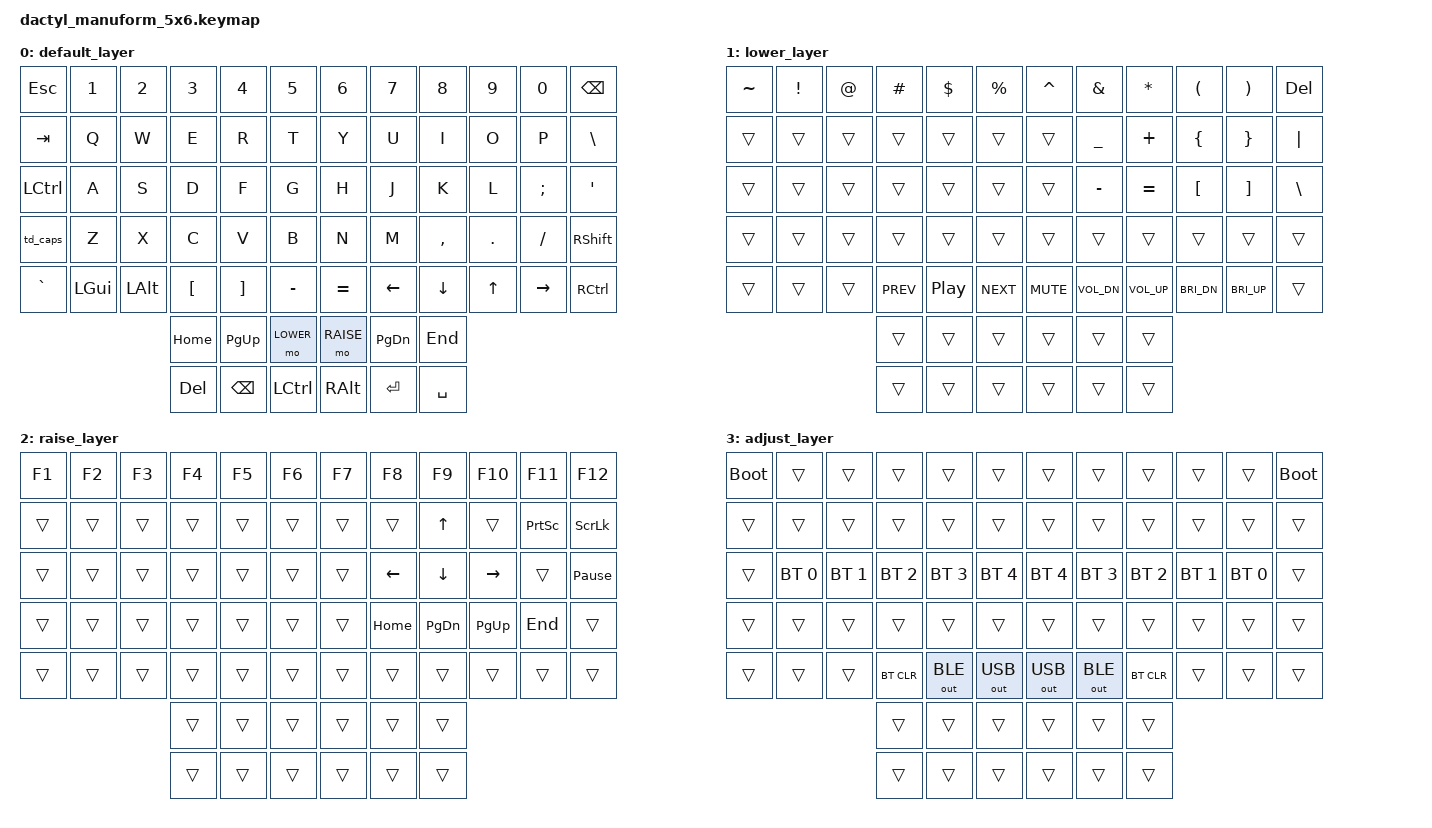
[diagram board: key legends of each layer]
/*
 * Dactyl Manuform 5x6 Keymap
 * nice!nano v2 | ZMK Firmware
 *
 * ─────────────────────────────────────────────────────────────────────────────
 * Physical layout (per side, 36 keys):
 *
 *   ┌─────┬─────┬─────┬─────┬─────┬─────┐       ┌─────┬─────┬─────┬─────┬─────┬─────┐
 *   │  0  │  1  │  2  │  3  │  4  │  5  │       │  6  │  7  │  8  │  9  │ 10  │ 11  │  ← Row 0
 *   ├─────┼─────┼─────┼─────┼─────┼─────┤       ├─────┼─────┼─────┼─────┼─────┼─────┤
 *   │ 12  │ 13  │ 14  │ 15  │ 16  │ 17  │       │ 18  │ 19  │ 20  │ 21  │ 22  │ 23  │  ← Row 1
 *   ├─────┼─────┼─────┼─────┼─────┼─────┤       ├─────┼─────┼─────┼─────┼─────┼─────┤
 *   │ 24  │ 25  │ 26  │ 27  │ 28  │ 29  │       │ 30  │ 31  │ 32  │ 33  │ 34  │ 35  │  ← Row 2
 *   ├─────┼─────┼─────┼─────┼─────┼─────┤       ├─────┼─────┼─────┼─────┼─────┼─────┤
 *   │ 36  │ 37  │ 38  │ 39  │ 40  │ 41  │       │ 42  │ 43  │ 44  │ 45  │ 46  │ 47  │  ← Row 3
 *   ├─────┼─────┼─────┼─────┼─────┼─────┤       ├─────┼─────┼─────┼─────┼─────┼─────┤
 *   │ 48  │ 49  │ 50  │ 51  │ 52  │ 53  │       │ 54  │ 55  │ 56  │ 57  │ 58  │ 59  │  ← Row 4
 *   └─────┴─────┴─────┼─────┼─────┼─────┘       └─────┼─────┼─────┼─────┴─────┴─────┘
 *                     │ 60  │ 61  │ 62  │       │ 63  │ 64  │ 65  │           ← Thumb inner
 *                     ├─────┼─────┼─────┤       ├─────┼─────┼─────┤
 *                     │ 66  │ 67  │ 68  │       │ 69  │ 70  │ 71  │           ← Thumb outer
 *                     └─────┴─────┴─────┘       └─────┴─────┴─────┘
 *
 * Thumb cluster — left hand (positions 60-68):
 *   Inner row (60-62): farther from palm, curled-finger reach
 *   Outer row (66-68): closer to palm, natural thumb rest
 *   Most-used key on left = 62 (inner-near) and 68 (outer-near)
 *
 * Thumb cluster — right hand (positions 63-65, 69-71):
 *   Most-used key on right = 63 (inner-near) and 69 (outer-near)
 * ─────────────────────────────────────────────────────────────────────────────
 */

#include <behaviors.dtsi>
#include <dt-bindings/zmk/keys.h>
#include <dt-bindings/zmk/bt.h>
#include <dt-bindings/zmk/outputs.h>

/* Layer index aliases */
#define BASE   0
#define LOWER  1
#define RAISE  2
#define ADJUST 3

/ {
    /*
     * Combo: hold both inner thumb keys simultaneously to reach ADJUST layer.
     * Useful for firmware reset / BT management without a dedicated key.
     */
    combos {
        compatible = "zmk,combos";
        combo_adjust {
            timeout-ms = <50>;
            key-positions = <62 63>;   /* LI-near + RI-near */
            bindings = <&mo ADJUST>;
        };
    };

    behaviors {
        /*
         * Tap-dance: double-tap LSHIFT → Caps Lock.
         * Single tap still works as normal LSHIFT hold.
         */
        td_caps: tap_dance_caps {
            compatible = "zmk,behavior-tap-dance";
            #binding-cells = <0>;
            tapping-term-ms = <200>;
            bindings = <&kp LSHIFT>, <&kp CAPS>;
        };
    };

    keymap {
        compatible = "zmk,keymap";

        /* ──────────────────────────────────────────────────────────────────
         * Layer 0 — BASE (QWERTY)
         *
         * ┌─────┬─────┬─────┬─────┬─────┬─────┐     ┌─────┬─────┬─────┬─────┬─────┬─────┐
         * │ ESC │  1  │  2  │  3  │  4  │  5  │     │  6  │  7  │  8  │  9  │  0  │BSPC │
         * ├─────┼─────┼─────┼─────┼─────┼─────┤     ├─────┼─────┼─────┼─────┼─────┼─────┤
         * │ TAB │  Q  │  W  │  E  │  R  │  T  │     │  Y  │  U  │  I  │  O  │  P  │  \  │
         * ├─────┼─────┼─────┼─────┼─────┼─────┤     ├─────┼─────┼─────┼─────┼─────┼─────┤
         * │LCTL │  A  │  S  │  D  │  F  │  G  │     │  H  │  J  │  K  │  L  │  ;  │  '  │
         * ├─────┼─────┼─────┼─────┼─────┼─────┤     ├─────┼─────┼─────┼─────┼─────┼─────┤
         * │LSFT │  Z  │  X  │  C  │  V  │  B  │     │  N  │  M  │  ,  │  .  │  /  │RSFT │
         * ├─────┼─────┼─────┼─────┼─────┼─────┤     ├─────┼─────┼─────┼─────┼─────┼─────┤
         * │  `  │LGUI │LALT │  [  │  ]  │  -  │     │  =  │LEFT │DOWN │ UP  │RGHT │RCTL │
         * └─────┴─────┴─────┼─────┼─────┼─────┘     └─────┼─────┼─────┼─────┴─────┴─────┘
         *                   │HOME │PGUP │MO(1)│     │MO(2)│PGDN │ END │
         *                   ├─────┼─────┼─────┤     ├─────┼─────┼─────┤
         *                   │ DEL │BSPC │LCTL │     │RALT │ ENT │ SPC │
         *                   └─────┴─────┴─────┘     └─────┴─────┴─────┘
         * ──────────────────────────────────────────────────────────────── */
        default_layer {
            bindings = <
/* Row 0 */
&kp ESC    &kp N1   &kp N2   &kp N3    &kp N4    &kp N5        &kp N6    &kp N7    &kp N8    &kp N9    &kp N0    &kp BSPC
/* Row 1 */
&kp TAB    &kp Q    &kp W    &kp E     &kp R     &kp T         &kp Y     &kp U     &kp I     &kp O     &kp P     &kp BSLH
/* Row 2 */
&kp LCTRL  &kp A    &kp S    &kp D     &kp F     &kp G         &kp H     &kp J     &kp K     &kp L     &kp SEMI  &kp SQT
/* Row 3 */
&td_caps   &kp Z    &kp X    &kp C     &kp V     &kp B         &kp N     &kp M     &kp COMMA &kp DOT   &kp SLASH &kp RSHFT
/* Row 4 */
&kp GRAVE  &kp LGUI &kp LALT &kp LBKT  &kp RBKT  &kp MINUS     &kp EQUAL &kp LEFT  &kp DOWN  &kp UP    &kp RIGHT &kp RCTRL
/* Thumb inner */
                             &kp HOME  &kp PG_UP &mo LOWER     &mo RAISE &kp PG_DN &kp END
/* Thumb outer */
                             &kp DEL   &kp BSPC  &kp LCTRL     &kp RALT  &kp RET   &kp SPACE
            >;
        };

        /* ──────────────────────────────────────────────────────────────────
         * Layer 1 — LOWER (Numbers, symbols, media)
         *
         * ┌─────┬─────┬─────┬─────┬─────┬─────┐     ┌─────┬─────┬─────┬─────┬─────┬─────┐
         * │  ~  │  !  │  @  │  #  │  $  │  %  │     │  ^  │  &  │  *  │  (  │  )  │ DEL │
         * ├─────┼─────┼─────┼─────┼─────┼─────┤     ├─────┼─────┼─────┼─────┼─────┼─────┤
         * │     │     │     │     │     │     │     │     │  _  │  +  │  {  │  }  │  |  │
         * ├─────┼─────┼─────┼─────┼─────┼─────┤     ├─────┼─────┼─────┼─────┼─────┼─────┤
         * │     │     │     │     │     │     │     │     │  -  │  =  │  [  │  ]  │  \  │
         * ├─────┼─────┼─────┼─────┼─────┼─────┤     ├─────┼─────┼─────┼─────┼─────┼─────┤
         * │     │     │     │     │     │     │     │     │     │     │     │     │     │
         * ├─────┼─────┼─────┼─────┼─────┼─────┤     ├─────┼─────┼─────┼─────┼─────┼─────┤
         * │     │     │     │ PRV │ PLY │ NXT │     │MUTE │VOL- │VOL+ │BRDN │BRUP │     │
         * └─────┴─────┴─────┼─────┼─────┼─────┘     └─────┼─────┼─────┼─────┴─────┴─────┘
         *                   │     │     │▓▓▓▓▓│     │     │     │     │
         *                   ├─────┼─────┼─────┤     ├─────┼─────┼─────┤
         *                   │     │     │     │     │     │     │     │
         *                   └─────┴─────┴─────┘     └─────┴─────┴─────┘
         * ──────────────────────────────────────────────────────────────── */
        lower_layer {
            bindings = <
/* Row 0 */
&kp TILDE  &kp EXCL  &kp AT    &kp HASH  &kp DLLR  &kp PRCNT    &kp CARET &kp AMPS  &kp STAR  &kp LPAR  &kp RPAR  &kp DEL
/* Row 1 */
&trans     &trans    &trans    &trans    &trans    &trans        &trans    &kp UNDER &kp PLUS  &kp LBRC  &kp RBRC  &kp PIPE
/* Row 2 */
&trans     &trans    &trans    &trans    &trans    &trans        &trans    &kp MINUS &kp EQUAL &kp LBKT  &kp RBKT  &kp BSLH
/* Row 3 */
&trans     &trans    &trans    &trans    &trans    &trans        &trans    &trans    &trans    &trans    &trans    &trans
/* Row 4 */
&trans     &trans    &trans    &kp C_PREV &kp C_PP &kp C_NEXT   &kp C_MUTE &kp C_VOL_DN &kp C_VOL_UP &kp C_BRI_DN &kp C_BRI_UP &trans
/* Thumb inner */
                               &trans    &trans    &trans        &trans    &trans    &trans
/* Thumb outer */
                               &trans    &trans    &trans        &trans    &trans    &trans
            >;
        };

        /* ──────────────────────────────────────────────────────────────────
         * Layer 2 — RAISE (Function keys, navigation)
         *
         * ┌─────┬─────┬─────┬─────┬─────┬─────┐     ┌─────┬─────┬─────┬─────┬─────┬─────┐
         * │ F1  │ F2  │ F3  │ F4  │ F5  │ F6  │     │ F7  │ F8  │ F9  │ F10 │ F11 │ F12 │
         * ├─────┼─────┼─────┼─────┼─────┼─────┤     ├─────┼─────┼─────┼─────┼─────┼─────┤
         * │     │     │     │     │     │     │     │     │     │ UP  │     │PSCR │SLCK │
         * ├─────┼─────┼─────┼─────┼─────┼─────┤     ├─────┼─────┼─────┼─────┼─────┼─────┤
         * │     │     │     │     │     │     │     │     │LEFT │DOWN │RGHT │     │PAUS │
         * ├─────┼─────┼─────┼─────┼─────┼─────┤     ├─────┼─────┼─────┼─────┼─────┼─────┤
         * │     │     │     │     │     │     │     │     │HOME │PGDN │PGUP │ END │     │
         * ├─────┼─────┼─────┼─────┼─────┼─────┤     ├─────┼─────┼─────┼─────┼─────┼─────┤
         * │     │     │     │     │     │     │     │     │     │     │     │     │     │
         * └─────┴─────┴─────┼─────┼─────┼─────┘     └─────┼─────┼─────┼─────┴─────┴─────┘
         *                   │     │     │     │     │▓▓▓▓▓│     │     │
         *                   ├─────┼─────┼─────┤     ├─────┼─────┼─────┤
         *                   │     │     │     │     │     │     │     │
         *                   └─────┴─────┴─────┘     └─────┴─────┴─────┘
         * ──────────────────────────────────────────────────────────────── */
        raise_layer {
            bindings = <
/* Row 0 */
&kp F1     &kp F2    &kp F3    &kp F4    &kp F5    &kp F6        &kp F7    &kp F8    &kp F9    &kp F10   &kp F11   &kp F12
/* Row 1 */
&trans     &trans    &trans    &trans    &trans    &trans        &trans    &trans    &kp UP    &trans    &kp PSCRN &kp SLCK
/* Row 2 */
&trans     &trans    &trans    &trans    &trans    &trans        &trans    &kp LEFT  &kp DOWN  &kp RIGHT &trans    &kp PAUSE_BREAK
/* Row 3 */
&trans     &trans    &trans    &trans    &trans    &trans        &trans    &kp HOME  &kp PG_DN &kp PG_UP &kp END   &trans
/* Row 4 */
&trans     &trans    &trans    &trans    &trans    &trans        &trans    &trans    &trans    &trans    &trans    &trans
/* Thumb inner */
                               &trans    &trans    &trans        &trans    &trans    &trans
/* Thumb outer */
                               &trans    &trans    &trans        &trans    &trans    &trans
            >;
        };

        /* ──────────────────────────────────────────────────────────────────
         * Layer 3 — ADJUST (BT, firmware, system)
         * Reached by: hold both inner-near thumb keys simultaneously (combo)
         *
         * ┌──────┬──────┬──────┬──────┬──────┬──────┐     ┌──────┬──────┬──────┬──────┬──────┬──────┐
         * │ BOOT │      │      │      │      │      │     │      │      │      │      │      │ BOOT │
         * ├──────┼──────┼──────┼──────┼──────┼──────┤     ├──────┼──────┼──────┼──────┼──────┼──────┤
         * │      │      │      │      │      │      │     │      │      │      │      │      │      │
         * ├──────┼──────┼──────┼──────┼──────┼──────┤     ├──────┼──────┼──────┼──────┼──────┼──────┤
         * │      │BT_0  │BT_1  │BT_2  │BT_3  │BT_4  │     │BT_4  │BT_3  │BT_2  │BT_1  │BT_0  │      │
         * ├──────┼──────┼──────┼──────┼──────┼──────┤     ├──────┼──────┼──────┼──────┼──────┼──────┤
         * │      │      │      │      │      │      │     │      │      │      │      │      │      │
         * ├──────┼──────┼──────┼──────┼──────┼──────┤     ├──────┼──────┼──────┼──────┼──────┼──────┤
         * │      │      │      │BTCLR │OUT_BLE│OUT_USB│   │OUT_USB│OUT_BLE│BTCLR│      │      │      │
         * └──────┴──────┴──────┼──────┼──────┼──────┘     └──────┼──────┼──────┼──────┴──────┴──────┘
         *                      │      │      │▓▓▓▓▓▓│     │▓▓▓▓▓▓│      │      │
         *                      ├──────┼──────┼──────┤     ├──────┼──────┼──────┤
         *                      │      │      │      │     │      │      │      │
         *                      └──────┴──────┴──────┘     └──────┴──────┴──────┘
         * ──────────────────────────────────────────────────────────────────── */
        adjust_layer {
            bindings = <
/* Row 0 */
&bootloader &trans        &trans        &trans        &trans        &trans         &trans        &trans        &trans        &trans        &trans        &bootloader
/* Row 1 */
&trans      &trans        &trans        &trans        &trans        &trans         &trans        &trans        &trans        &trans        &trans        &trans
/* Row 2 — BT profile selection */
&trans      &bt BT_SEL 0  &bt BT_SEL 1  &bt BT_SEL 2  &bt BT_SEL 3  &bt BT_SEL 4  &bt BT_SEL 4  &bt BT_SEL 3  &bt BT_SEL 2  &bt BT_SEL 1  &bt BT_SEL 0  &trans
/* Row 3 */
&trans      &trans        &trans        &trans        &trans        &trans         &trans        &trans        &trans        &trans        &trans        &trans
/* Row 4 */
&trans      &trans        &trans        &bt BT_CLR    &out OUT_BLE  &out OUT_USB   &out OUT_USB  &out OUT_BLE  &bt BT_CLR    &trans        &trans        &trans
/* Thumb inner */
                                        &trans        &trans        &trans         &trans        &trans        &trans
/* Thumb outer */
                                        &trans        &trans        &trans         &trans        &trans        &trans
            >;
        };
    };
};
